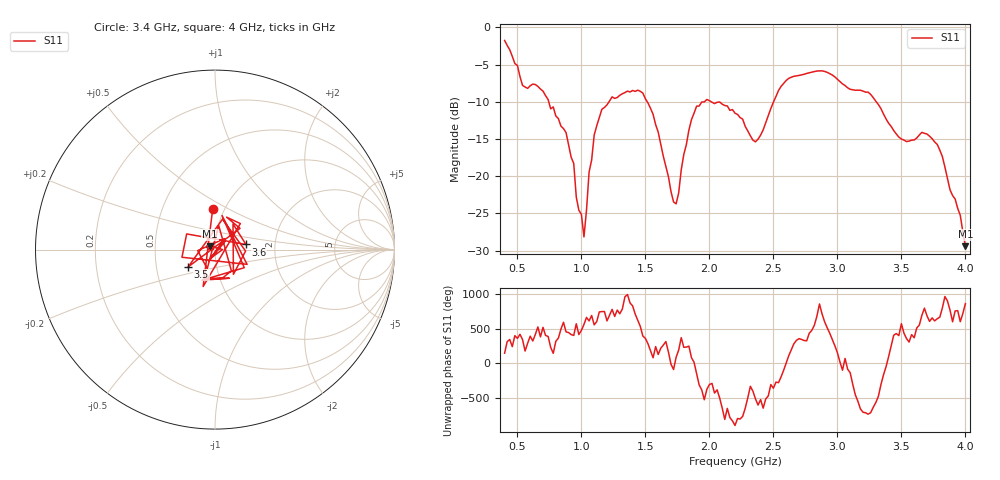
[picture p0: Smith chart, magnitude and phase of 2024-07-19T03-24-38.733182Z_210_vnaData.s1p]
!Created with skrf (http://scikit-rf.org).
# Hz S RI R 50.0
!freq ReS11 ImS11
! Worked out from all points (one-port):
!   181 points, 400 MHz to 4 GHz, reference 50 ohm
!   lowest |S11| = -29.4 dB at 4 GHz (marker M1), VSWR 1.07, Z = 47.3 + j1.84 ohm
!   |S11| at or under -10 dB: 744.6 MHz to 1.216 GHz (471.5 MHz wide, 48.1 % of centre); 2.013 GHz to 2.502 GHz (488.1 MHz wide, 21.6 % of centre); 3.303 GHz to end of sweep (the widest 3 of 4)
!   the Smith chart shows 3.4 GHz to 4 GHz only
!   S11 on the Smith chart (normalised r, x): 3.4 GHz: 0.88, +0.42; 3.5 GHz: 0.73, -0.14; 3.6 GHz: 1.41, +0.08; 4 GHz: 0.95, +0.04
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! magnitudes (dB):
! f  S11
! 400 MHz  -1.8
! 540 MHz  -7.8
! 700 MHz  -8.6
! 860 MHz  -13.6
! 940 MHz  -18.3
! 960 MHz  -22.8
! 1.02 GHz  -28.2
! 1.06 GHz  -19.5
! 1.1 GHz  -14.5
! 1.16 GHz  -11.0
! 1.3 GHz  -9.1
! 1.48 GHz  -8.8
! 1.6 GHz  -14.1
! 1.72 GHz  -23.5
! 1.76 GHz  -22.3
! 1.8 GHz  -17.1
! 1.9 GHz  -10.6
! 2.2 GHz  -11.5
! 2.36 GHz  -15.4
! 2.66 GHz  -6.6
! 3.1 GHz  -8.3
! 3.26 GHz  -9.0
! 3.4 GHz  -12.9
! 3.5 GHz  -15.0
! 3.56 GHz  -15.3
! 3.6 GHz  -15.1
! 3.78 GHz  -15.7
! 4 GHz  -29.4
